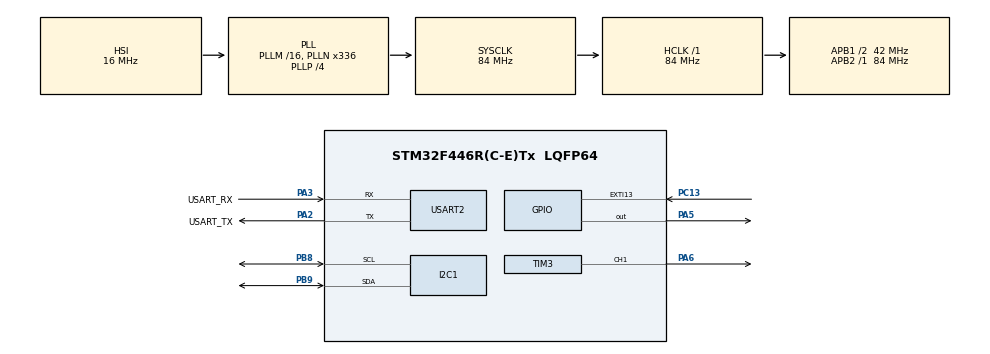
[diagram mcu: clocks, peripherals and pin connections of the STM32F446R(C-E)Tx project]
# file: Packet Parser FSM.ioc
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FREERTOS.BinarySemaphores01=uartRxSem,Dynamic,NULL,Available
FREERTOS.Mutexes01=sensorDataMutex,Dynamic,NULL,Available
FREERTOS.Tasks01=cliTask,24,256,StartCliTask,Default,NULL,Dynamic,NULL,NULL;sensorTask,32,256,StartSensorTask,Default,NULL,Dynamic,NULL,NULL
FREERTOS.configTOTAL_HEAP_SIZE=8192
FREERTOS.configUSE_NEWLIB_REENTRANT=1
I2C1.I2C_Mode=I2C_Fast
Mcu.Family=STM32F4
Mcu.Name=STM32F446R(C-E)Tx
Mcu.Package=LQFP64
NUCLEO-F446RE.BUTTON=1
NUCLEO-F446RE.LD1=true
NVIC.EXTI15_10_IRQn=true\:5\:0\:false\:false\:true\:true\:false\:true\:true
NVIC.PriorityGroup=NVIC_PRIORITYGROUP_4
NVIC.TIM6_DAC_IRQn=true\:15\:0\:true\:false\:true\:false\:false\:true\:true
NVIC.TimeBase=TIM6_DAC_IRQn
NVIC.TimeBaseIP=TIM6
NVIC.USART2_IRQn=true\:6\:0\:true\:false\:true\:true\:true\:true\:true
PA13.GPIO_Label=TMS
PA13.Mode=Serial_Wire
PA13.Signal=SYS_JTMS-SWDIO
PA14.GPIO_Label=TCK
PA14.Mode=Serial_Wire
PA14.Signal=SYS_JTCK-SWCLK
PA2.GPIO_Label=USART_TX
PA2.Mode=Asynchronous
PA2.Signal=USART2_TX
PA3.GPIO_Label=USART_RX
PA3.Mode=Asynchronous
PA3.Signal=USART2_RX
PA5.Signal=GPIO_Output
PA6.Signal=S_TIM3_CH1
PB3.GPIO_Label=SWO
PB3.Signal=SYS_JTDO-SWO
PB8.Mode=I2C
PB8.Signal=I2C1_SCL
PB9.Mode=I2C
PB9.Signal=I2C1_SDA
PC13.Signal=GPXTI13
PC14-OSC32_IN.Signal=RCC_OSC32_IN
PC15-OSC32_OUT.Signal=RCC_OSC32_OUT
PH0-OSC_IN.Mode=HSE-External-Oscillator
PH0-OSC_IN.Signal=RCC_OSC_IN
PH1-OSC_OUT.Mode=HSE-External-Oscillator
PH1-OSC_OUT.Signal=RCC_OSC_OUT
ProjectManager.HeapSize=0x200
ProjectManager.StackSize=0x400
ProjectManager.TargetToolchain=STM32CubeIDE
RCC.AHBFreq_Value=84000000
RCC.APB1CLKDivider=RCC_HCLK_DIV2
RCC.APB1Freq_Value=42000000
RCC.APB1TimFreq_Value=84000000
RCC.APB2Freq_Value=84000000
RCC.APB2TimFreq_Value=84000000
RCC.CortexFreq_Value=84000000
RCC.FLatency-AdvancedSettings=FLASH_LATENCY_2
RCC.HCLKFreq_Value=84000000
RCC.HSE_VALUE=8000000
RCC.HSI_VALUE=16000000
RCC.LSE_VALUE=32768
RCC.PLLN=336
RCC.PLLP=RCC_PLLP_DIV4
RCC.SYSCLKFreq_VALUE=84000000
RCC.SYSCLKSource=RCC_SYSCLKSOURCE_PLLCLK
RCC.USBFreq_Value=168000000
RCC.VCOOutputFreq_Value=336000000
SH.S_TIM3_CH1.0=TIM3_CH1,PWM Generation1 CH1
TIM3.Channel-PWM\ Generation1\ CH1=TIM_CHANNEL_1
TIM3.Period=20000 - 1
TIM3.Prescaler=84 - 1
TIM3.Pulse-PWM\ Generation1\ CH1=1500
USART2.VirtualMode=VM_ASYNC
VP_FREERTOS_VS_CMSIS_V2.Mode=CMSIS_V2
VP_NUCLEO-F446RE_VS_BSP_COMMON.Mode=COMMON
VP_SYS_VS_tim6.Mode=TIM6
board=NUCLEO-F446RE

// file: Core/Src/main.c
/* USER CODE BEGIN Header */
/**
  ******************************************************************************
  * @file           : main.c
  * @brief          : Main program body
  ******************************************************************************
  * @attention
  *
  * Copyright (c) 2026 STMicroelectronics.
  * All rights reserved.
  *
  * This software is licensed under terms that can be found in the LICENSE file
  * in the root directory of this software component.
  * If no LICENSE file comes with this software, it is provided AS-IS.
  *
  ******************************************************************************
  */
/* USER CODE END Header */
#include "main.h"
#include "cmsis_os.h"

/* USER CODE BEGIN Includes */
#include "ring_buffer.h"
#include "protocol_fsm.h"
#include "cmd_dispatcher.h"
#include "bsp_uart.h"
#include "telemetry_api.h"
#include <math.h>
/* USER CODE END Includes */

I2C_HandleTypeDef hi2c1;

TIM_HandleTypeDef htim3;

UART_HandleTypeDef huart2;

/* Definitions for cliTask */
osThreadId_t cliTaskHandle;
const osThreadAttr_t cliTask_attributes = {
  .name = "cliTask",
  .stack_size = 256 * 4,
  .priority = (osPriority_t) osPriorityNormal,
};
/* Definitions for sensorTask */
osThreadId_t sensorTaskHandle;
const osThreadAttr_t sensorTask_attributes = {
  .name = "sensorTask",
  .stack_size = 256 * 4,
  .priority = (osPriority_t) osPriorityAboveNormal,
};
/* Definitions for sensorDataMutex */
osMutexId_t sensorDataMutexHandle;
const osMutexAttr_t sensorDataMutex_attributes = {
  .name = "sensorDataMutex"
};
/* Definitions for uartRxSem */
osSemaphoreId_t uartRxSemHandle;
const osSemaphoreAttr_t uartRxSem_attributes = {
  .name = "uartRxSem"
};
/* USER CODE BEGIN PV */
#define UART_RX_BUFFER_SIZE  128

uint8_t rx_byte = 0;
uint8_t uart_storage[UART_RX_BUFFER_SIZE];
RingBuffer_t uart_rb;

/* Protokol ve Komut Yapıları */
ProtocolFsm_t parser_fsm;
Packet_t rx_packet;

SensorData_t global_sensor_data = {0};

/* MPU6500 I2C Adresi (AD0 pini GND'de ise 0x68, sola kaydırılmış hali 0xD0) */
#define MPU6500_ADDR 0xD0

static SensorData_t internal_sensor_data;
/* USER CODE END PV */

void SystemClock_Config(void);
static void MX_GPIO_Init(void);
static void MX_USART2_UART_Init(void);
static void MX_I2C1_Init(void);
static void MX_TIM3_Init(void);
void StartCliTask(void *argument);
void StartSensorTask(void *argument);

/* USER CODE BEGIN PFP */
void StartCliTask(void *argument);
/* USER CODE END PFP */

int main(void)
{

  /* MCU Configuration--------------------------------------------------------*/

  /* Reset of all peripherals, Initializes the Flash interface and the Systick. */
  HAL_Init();

  /* Configure the system clock */
  SystemClock_Config();

  /* Initialize all configured peripherals */
  MX_GPIO_Init();
  MX_USART2_UART_Init();
  MX_I2C1_Init();
  MX_TIM3_Init();
  /* USER CODE BEGIN 2 */
  /* Donanım ve saf C yapıları RTOS'tan bağımsız başlar */
    RingBuffer_Init(&uart_rb, uart_storage, UART_RX_BUFFER_SIZE);
    FSM_Init(&parser_fsm);
    CmdDispatcher_Init();
  /* USER CODE BEGIN 2 */
    HAL_TIM_PWM_Start(&htim3, TIM_CHANNEL_1);
  /* USER CODE END 2 */

  /* Init scheduler */
  osKernelInitialize();
  /* Create the mutex(es) */
  /* creation of sensorDataMutex */
  sensorDataMutexHandle = osMutexNew(&sensorDataMutex_attributes);

  /* Create the semaphores(s) */
  /* creation of uartRxSem */
  uartRxSemHandle = osSemaphoreNew(1, 1, &uartRxSem_attributes);

  /* USER CODE BEGIN RTOS_SEMAPHORES */
  uartRxSemHandle = osSemaphoreNew(1, 0, &uartRxSem_attributes);
  /* USER CODE END RTOS_SEMAPHORES */

  /* Create the thread(s) */
  /* creation of cliTask */
  cliTaskHandle = osThreadNew(StartCliTask, NULL, &cliTask_attributes);

  /* creation of sensorTask */
  sensorTaskHandle = osThreadNew(StartSensorTask, NULL, &sensorTask_attributes);

  /* USER CODE BEGIN RTOS_THREADS */
  /* 2. CLI Task'ını oluştur */
    const osThreadAttr_t cliTask_attributes = {
      .name = "cliTask",
      .stack_size = 256 * 4,
      .priority = (osPriority_t) osPriorityNormal,
    };
    osThreadNew(StartCliTask, NULL, &cliTask_attributes);
  /* USER CODE END RTOS_THREADS */

  /* Initialize leds */
  BSP_LED_Init(LED2);

  /* Initialize USER push-button, will be used to trigger an interrupt each time it's pressed.*/
  BSP_PB_Init(BUTTON_USER, BUTTON_MODE_EXTI);

  /* Start scheduler */
  osKernelStart();

  /* We should never get here as control is now taken by the scheduler */

  /* Infinite loop */
  while (1)
  {

  }
}

void SystemClock_Config(void)
{
  RCC_OscInitTypeDef RCC_OscInitStruct = {0};
  RCC_ClkInitTypeDef RCC_ClkInitStruct = {0};

  /** Configure the main internal regulator output voltage
  */
  __HAL_RCC_PWR_CLK_ENABLE();
  __HAL_PWR_VOLTAGESCALING_CONFIG(PWR_REGULATOR_VOLTAGE_SCALE3);

  /** Initializes the RCC Oscillators according to the specified parameters
  * in the RCC_OscInitTypeDef structure.
  */
  RCC_OscInitStruct.OscillatorType = RCC_OSCILLATORTYPE_HSI;
  RCC_OscInitStruct.HSIState = RCC_HSI_ON;
  RCC_OscInitStruct.HSICalibrationValue = RCC_HSICALIBRATION_DEFAULT;
  RCC_OscInitStruct.PLL.PLLState = RCC_PLL_ON;
  RCC_OscInitStruct.PLL.PLLSource = RCC_PLLSOURCE_HSI;
  RCC_OscInitStruct.PLL.PLLM = 16;
  RCC_OscInitStruct.PLL.PLLN = 336;
  RCC_OscInitStruct.PLL.PLLP = RCC_PLLP_DIV4;
  RCC_OscInitStruct.PLL.PLLQ = 2;
  RCC_OscInitStruct.PLL.PLLR = 2;
  if (HAL_RCC_OscConfig(&RCC_OscInitStruct) != HAL_OK)
  {
    Error_Handler();
  }

  /** Initializes the CPU, AHB and APB buses clocks
  */
  RCC_ClkInitStruct.ClockType = RCC_CLOCKTYPE_HCLK|RCC_CLOCKTYPE_SYSCLK
                              |RCC_CLOCKTYPE_PCLK1|RCC_CLOCKTYPE_PCLK2;
  RCC_ClkInitStruct.SYSCLKSource = RCC_SYSCLKSOURCE_PLLCLK;
  RCC_ClkInitStruct.AHBCLKDivider = RCC_SYSCLK_DIV1;
  RCC_ClkInitStruct.APB1CLKDivider = RCC_HCLK_DIV2;
  RCC_ClkInitStruct.APB2CLKDivider = RCC_HCLK_DIV1;

  if (HAL_RCC_ClockConfig(&RCC_ClkInitStruct, FLASH_LATENCY_2) != HAL_OK)
  {
    Error_Handler();
  }
}

static void MX_I2C1_Init(void)
{

  hi2c1.Instance = I2C1;
  hi2c1.Init.ClockSpeed = 400000;
  hi2c1.Init.DutyCycle = I2C_DUTYCYCLE_2;
  hi2c1.Init.OwnAddress1 = 0;
  hi2c1.Init.AddressingMode = I2C_ADDRESSINGMODE_7BIT;
  hi2c1.Init.DualAddressMode = I2C_DUALADDRESS_DISABLE;
  hi2c1.Init.OwnAddress2 = 0;
  hi2c1.Init.GeneralCallMode = I2C_GENERALCALL_DISABLE;
  hi2c1.Init.NoStretchMode = I2C_NOSTRETCH_DISABLE;
  if (HAL_I2C_Init(&hi2c1) != HAL_OK)
  {
    Error_Handler();
  }

}

static void MX_TIM3_Init(void)
{

  TIM_MasterConfigTypeDef sMasterConfig = {0};
  TIM_OC_InitTypeDef sConfigOC = {0};

  htim3.Instance = TIM3;
  htim3.Init.Prescaler = 84 - 1;
  htim3.Init.CounterMode = TIM_COUNTERMODE_UP;
  htim3.Init.Period = 20000 - 1;
  htim3.Init.ClockDivision = TIM_CLOCKDIVISION_DIV1;
  htim3.Init.AutoReloadPreload = TIM_AUTORELOAD_PRELOAD_DISABLE;
  if (HAL_TIM_PWM_Init(&htim3) != HAL_OK)
  {
    Error_Handler();
  }
  sMasterConfig.MasterOutputTrigger = TIM_TRGO_RESET;
  sMasterConfig.MasterSlaveMode = TIM_MASTERSLAVEMODE_DISABLE;
  if (HAL_TIMEx_MasterConfigSynchronization(&htim3, &sMasterConfig) != HAL_OK)
  {
    Error_Handler();
  }
  sConfigOC.OCMode = TIM_OCMODE_PWM1;
  sConfigOC.Pulse = 1500;
  sConfigOC.OCPolarity = TIM_OCPOLARITY_HIGH;
  sConfigOC.OCFastMode = TIM_OCFAST_DISABLE;
  if (HAL_TIM_PWM_ConfigChannel(&htim3, &sConfigOC, TIM_CHANNEL_1) != HAL_OK)
  {
    Error_Handler();
  }
  HAL_TIM_MspPostInit(&htim3);

}

static void MX_USART2_UART_Init(void)
{

  huart2.Instance = USART2;
  huart2.Init.BaudRate = 115200;
  huart2.Init.WordLength = UART_WORDLENGTH_8B;
  huart2.Init.StopBits = UART_STOPBITS_1;
  huart2.Init.Parity = UART_PARITY_NONE;
  huart2.Init.Mode = UART_MODE_TX_RX;
  huart2.Init.HwFlowCtl = UART_HWCONTROL_NONE;
  huart2.Init.OverSampling = UART_OVERSAMPLING_16;
  if (HAL_UART_Init(&huart2) != HAL_OK)
  {
    Error_Handler();
  }

}

static void MX_GPIO_Init(void)
{

  /* GPIO Ports Clock Enable */
  __HAL_RCC_GPIOC_CLK_ENABLE();
  __HAL_RCC_GPIOH_CLK_ENABLE();
  __HAL_RCC_GPIOA_CLK_ENABLE();
  __HAL_RCC_GPIOB_CLK_ENABLE();

}

/* USER CODE BEGIN 4 */
void HAL_UART_RxCpltCallback(UART_HandleTypeDef *huart) {
    if (huart->Instance == USART2) {
        /* 1. Gelen baytı ring buffer'a at */
        RingBuffer_Put(&uart_rb, rx_byte);

        /* 2. CubeMX'in oluşturduğu semafor ile task'ı uyandır */
        if (uartRxSemHandle != NULL) {
            osSemaphoreRelease(uartRxSemHandle);
        }

        /* 3. Bir sonraki baytı dinlemeye al */
        HAL_UART_Receive_IT(&huart2, &rx_byte, 1);
    }
}

bool Telemetry_GetSensorData(SensorData_t *out_data) {
    /* Mutex CubeMX tarafından üretildiği için burada doğrudan kullanabiliriz */
    if (osMutexAcquire(sensorDataMutexHandle, 10) == osOK) {
        *out_data = internal_sensor_data;
        osMutexRelease(sensorDataMutexHandle);
        return true;
    }
    return false;
}
/* USER CODE END 4 */

void StartCliTask(void *argument)
{
  /* USER CODE BEGIN 5 */
  uint8_t byte_to_process = 0;

  /* UART kesmesini burada başlat */
  HAL_UART_Receive_IT(&huart2, &rx_byte, 1);

  /* Infinite loop */
  for(;;)
  {
    /* Semafor gelene kadar bekle */
    if (osSemaphoreAcquire(uartRxSemHandle, osWaitForever) == osOK) {

        /* Buffer'daki tüm verileri boşalana kadar oku */
        while (RingBuffer_Get(&uart_rb, &byte_to_process) == RING_BUFFER_OK) {

            /* Paketi çözümle ve işlet */
            if (FSM_ProcessByte(&parser_fsm, byte_to_process, &rx_packet)) {
                CmdDispatcher_Execute(&rx_packet);
            }
        }
    }
  }
  /* USER CODE END 5 */
}

void StartSensorTask(void *argument)
{
  /* USER CODE BEGIN StartSensorTask */
  uint8_t data = 0x00;
  uint8_t rec_data[6];

  /* 1. MPU6500'ü Uyandır (Power Management 1 (0x6B) register'ına 0 yaz) */
  HAL_I2C_Mem_Write(&hi2c1, MPU6500_ADDR, 0x6B, 1, &data, 1, 100);
  osDelay(10); // Sensörün toparlanması için kısa bekleme

  /* Sonsuz Görev Döngüsü */
    for(;;)
    {
        if (HAL_I2C_Mem_Read(&hi2c1, MPU6500_ADDR, 0x3B, 1, rec_data, 6, 100) == HAL_OK)
        {
            int16_t raw_x = (int16_t)(rec_data[0] << 8 | rec_data[1]);
            int16_t raw_y = (int16_t)(rec_data[2] << 8 | rec_data[3]);
            int16_t raw_z = (int16_t)(rec_data[4] << 8 | rec_data[5]);

            /* 1. HAFİF KONTROL MATEMATİĞİ (O(1) Karmaşıklık, Sıfır Float) */
            /* MPU6500'de 1G (Dünya Yerçekimi) yaklaşık 16384 değerine denk gelir.
               Eğer raw_x'i 32'ye bölersek, ~500 değerini elde ederiz.
               Böylece 1500 merkezi etrafında +-500 (1000 ile 2000 arası) PWM palsı üretiriz. */

            int32_t offset = raw_x / 32;
            uint32_t pwm_pulse = 1500 + offset;

            /* Servo limitlerini güvene al */
            if(pwm_pulse > 2000) pwm_pulse = 2000;
            if(pwm_pulse < 1000) pwm_pulse = 1000;

            /* Donanıma Doğrudan Yaz */
            __HAL_TIM_SET_COMPARE(&htim3, TIM_CHANNEL_1, pwm_pulse);

            /* 2. TELEMETRİ GÜNCELLEMESİ */
            if (osMutexAcquire(sensorDataMutexHandle, osWaitForever) == osOK)
            {
            	internal_sensor_data.accel_x = raw_x;
            	internal_sensor_data.accel_y = raw_y;
            	internal_sensor_data.accel_z = raw_z;
                osMutexRelease(sensorDataMutexHandle);
            }
        }

        osDelay(50);
    }
  /* USER CODE END StartSensorTask */
}

void HAL_TIM_PeriodElapsedCallback(TIM_HandleTypeDef *htim)
{
  if (htim->Instance == TIM6)
  {
    HAL_IncTick();
  }
}

void Error_Handler(void)
{
  __disable_irq();
  while (1)
  {
  }
}
